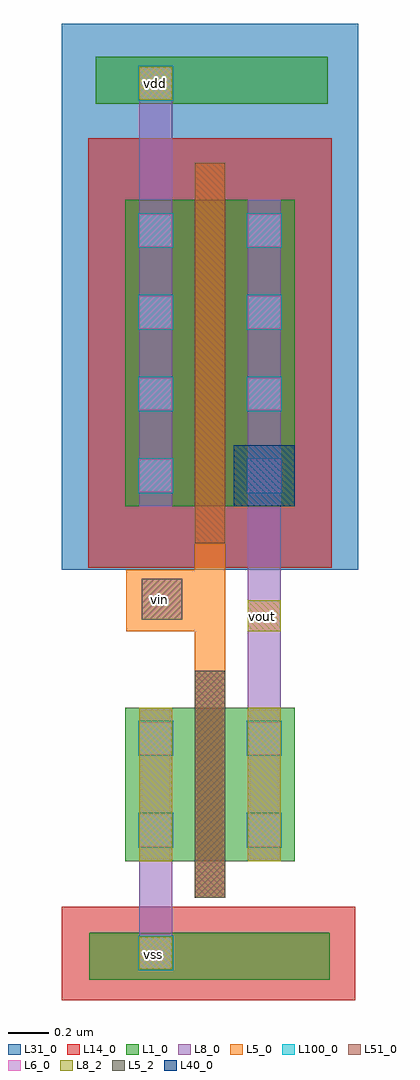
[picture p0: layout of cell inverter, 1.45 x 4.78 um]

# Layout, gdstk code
import gdstk
lib = gdstk.Library(unit=1e-6, precision=5e-09)
def R(c, l, rs):  # rectangles x0, y0, x1, y1
    for r in rs: c.add(gdstk.rectangle(r[:2], r[2:], *l))
def A(c, l, x, y, w, h, nx, ny, dx, dy):  # array of equal rectangles
    R(c, l, [(x+i*dx, y+j*dy, x+i*dx+w, y+j*dy+h) for i in range(nx) for j in range(ny)])
def P(c, l, *ps):  # polygons
    for p in ps: c.add(gdstk.Polygon(p, *l))
L1_0 = (1, 0)
L5_0 = (5, 0)
L5_2 = (5, 2)
L6_0 = (6, 0)
L8_0 = (8, 0)
L8_2 = (8, 2)
L14_0 = (14, 0)
L31_0 = (31, 0)
L40_0 = (40, 0)
L51_0 = (51, 0)
L100_0 = (100, 0)

nmos_1 = lib.new_cell('nmos$1')
R(nmos_1, L1_0, [(0,0,0.3,0.3), (0,0,0.83,0.75), (0.53,0,0.83,0.3)])
R(nmos_1, L5_0, [(0.34,-0.18,0.49,0.93)])
R(nmos_1, L5_2, [(0.34,-0.18,0.49,0.93)])
R(nmos_1, L6_0, [(0.07,0.07,0.23,0.23), (0.6,0.07,0.76,0.23), (0.07,0.52,0.23,0.68), (0.6,0.52,0.76,0.68)])
R(nmos_1, L8_0, [(0.07,0,0.23,0.75), (0.6,0,0.76,0.75)])
R(nmos_1, L8_2, [(0.07,0,0.23,0.75), (0.6,0,0.76,0.75)])
R(nmos_1, L51_0, [(0.34,-0.18,0.49,0.93)])
nmos_1.add(gdstk.Label('nmos', (0.415,0.375), layer=63, texttype=0))
nmos_1.add(gdstk.Label('nmos', (0.415,0.375), layer=51, texttype=0))

pmos_1 = lib.new_cell('pmos$1')
R(pmos_1, L1_0, [(0,0,0.3,0.3), (0,0,0.83,1.5), (0.53,0,0.83,0.3)])
R(pmos_1, L5_0, [(0.34,-0.18,0.49,1.68), (0.34,-0.18,0.49,1.68)])
A(pmos_1, L6_0, 0.07, 0.07, 0.16, 0.16, 1, 4, 0, 0.4)
A(pmos_1, L6_0, 0.6, 0.07, 0.16, 0.16, 1, 4, 0, 0.4)
R(pmos_1, L8_0, [(0.07,0,0.23,1.5), (0.07,0,0.23,1.5), (0.6,0,0.76,1.5), (0.6,0,0.76,1.5)])
R(pmos_1, L14_0, [(-0.18,-0.3,1.01,1.8)])
R(pmos_1, L31_0, [(-0.31,-0.31,1.14,1.81)])
R(pmos_1, L40_0, [(0.53,0,0.83,0.3)])
R(pmos_1, L51_0, [(0.34,-0.18,0.49,1.68)])
pmos_1.add(gdstk.Label('pmos', (0.415,0.75), layer=63, texttype=0))
pmos_1.add(gdstk.Label('pmos', (0.415,0.75), layer=51, texttype=0))

inverter = lib.new_cell('inverter')
R(inverter, L1_0, [(-0.62,-1.585,0.555,-1.355), (-0.59,2.7,0.545,2.93)])
P(inverter, L5_0, [(-0.105,-0.075),(-0.105,0.12),(-0.44,0.12),(-0.44,0.42),(-0.105,0.42),(-0.105,0.55),(0.045,0.55),(0.045,-0.075)])
R(inverter, L5_2, [(-0.365,0.175,-0.165,0.375)])
R(inverter, L6_0, [(-0.375,-1.535,-0.215,-1.375), (-0.365,0.175,-0.165,0.375), (-0.375,2.72,-0.215,2.88)])
R(inverter, L8_0, [(-0.375,-1.535,-0.215,-1.005), (0.155,-0.255,0.315,0.73), (-0.375,2.23,-0.215,2.88)])
R(inverter, L8_2, [(-0.375,-1.535,-0.215,-1.375), (0.155,0.12,0.315,0.27), (-0.375,2.72,-0.215,2.88)])
R(inverter, L14_0, [(-0.755,-1.685,0.68,-1.23)])
R(inverter, L31_0, [(-0.755,2.54,0.695,3.09)])
R(inverter, L100_0, [(-0.38,-1.54,-0.21,-1.37), (-0.38,-1.54,-0.21,-1.37), (-0.38,-0.94,-0.21,-0.77), (-0.38,-0.94,-0.21,-0.77), (0.15,-0.94,0.32,-0.77), (0.15,-0.94,0.32,-0.77), (-0.38,-0.49,-0.21,-0.32), (-0.38,-0.49,-0.21,-0.32), (0.15,-0.49,0.32,-0.32), (0.15,-0.49,0.32,-0.32), (-0.38,0.795,-0.21,0.965), (-0.38,0.795,-0.21,0.965), (0.15,0.795,0.32,0.965), (0.15,0.795,0.32,0.965), (-0.38,1.195,-0.21,1.365), (-0.38,1.195,-0.21,1.365), (0.15,1.195,0.32,1.365), (0.15,1.195,0.32,1.365), (-0.38,1.595,-0.21,1.765), (-0.38,1.595,-0.21,1.765), (0.15,1.595,0.32,1.765), (0.15,1.595,0.32,1.765), (-0.38,1.995,-0.21,2.165), (-0.38,1.995,-0.21,2.165), (0.15,1.995,0.32,2.165), (0.15,1.995,0.32,2.165), (-0.38,2.715,-0.21,2.885), (-0.38,2.715,-0.21,2.885)])
inverter.add(gdstk.Reference(nmos_1, (-0.445,-1.005)))
inverter.add(gdstk.Reference(pmos_1, (-0.445,0.73)))
inverter.add(gdstk.Label('vss', (-0.305,-1.46), layer=8, texttype=2))
inverter.add(gdstk.Label('vout', (0.225,0.19), layer=8, texttype=2))
inverter.add(gdstk.Label('vdd', (-0.295,2.8), layer=8, texttype=2))
inverter.add(gdstk.Label('vin', (-0.275,0.275), layer=5, texttype=2))

lib.write_gds('inverter.gds')
